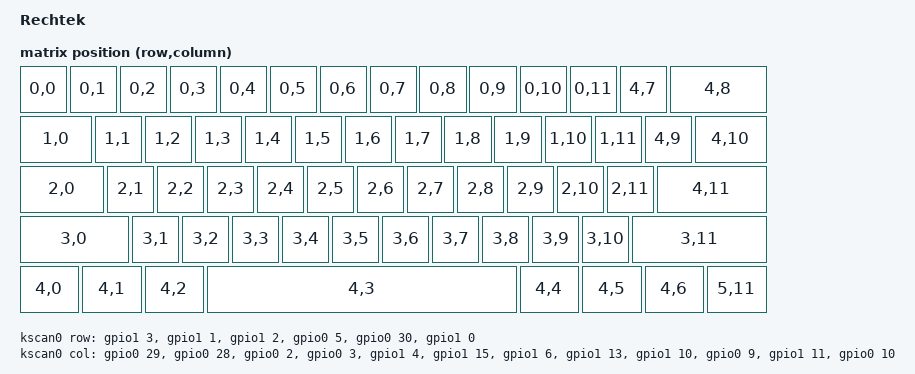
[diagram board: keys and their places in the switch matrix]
/*
 * Copyright (c) 2024 Boardsource
 *
 * SPDX-License-Identifier: MIT
 */

/dts-v1/;
#include <nordic/nrf52840_qiaa.dtsi>
#include <dt-bindings/zmk/matrix_transform.h>
#include <physical_layouts.dtsi>

/ {
    model = "Rechtek";
    compatible = "rechtek";

    chosen {
        zephyr,code-partition = &code_partition;
        zephyr,sram = &sram0;
        zephyr,flash = &flash0;
        zmk,kscan = &kscan0;
        zmk,physical-layout = &rechtek_layout;
    };

    rechtek_layout: rechtek_layout {
        compatible = "zmk,physical-layout";
        display-name = "Default Layout";
        transform = <&default_transform>;

        keys  //                     w   h    x    y     rot    rx    ry
            = <&key_physical_attrs 100 100 0 0 0 0 0>
            , <&key_physical_attrs 100 100 100 0 0 0 0>
            , <&key_physical_attrs 100 100 200 0 0 0 0>
            , <&key_physical_attrs 100 100 300 0 0 0 0>
            , <&key_physical_attrs 100 100 400 0 0 0 0>
            , <&key_physical_attrs 100 100 500 0 0 0 0>
            , <&key_physical_attrs 100 100 600 0 0 0 0>
            , <&key_physical_attrs 100 100 700 0 0 0 0>
            , <&key_physical_attrs 100 100 800 0 0 0 0>
            , <&key_physical_attrs 100 100 900 0 0 0 0>
            , <&key_physical_attrs 100 100 1000 0 0 0 0>
            , <&key_physical_attrs 100 100 1100 0 0 0 0>
            , <&key_physical_attrs 100 100 1200 0 0 0 0>
            , <&key_physical_attrs 200 100 1300 0 0 0 0>
            , <&key_physical_attrs 150 100 0 100 0 0 0>
            , <&key_physical_attrs 100 100 150 100 0 0 0>
            , <&key_physical_attrs 100 100 250 100 0 0 0>
            , <&key_physical_attrs 100 100 350 100 0 0 0>
            , <&key_physical_attrs 100 100 450 100 0 0 0>
            , <&key_physical_attrs 100 100 550 100 0 0 0>
            , <&key_physical_attrs 100 100 650 100 0 0 0>
            , <&key_physical_attrs 100 100 750 100 0 0 0>
            , <&key_physical_attrs 100 100 850 100 0 0 0>
            , <&key_physical_attrs 100 100 950 100 0 0 0>
            , <&key_physical_attrs 100 100 1050 100 0 0 0>
            , <&key_physical_attrs 100 100 1150 100 0 0 0>
            , <&key_physical_attrs 100 100 1250 100 0 0 0>
            , <&key_physical_attrs 150 100 1350 100 0 0 0>
            , <&key_physical_attrs 175 100 0 200 0 0 0>
            , <&key_physical_attrs 100 100 175 200 0 0 0>
            , <&key_physical_attrs 100 100 275 200 0 0 0>
            , <&key_physical_attrs 100 100 375 200 0 0 0>
            , <&key_physical_attrs 100 100 475 200 0 0 0>
            , <&key_physical_attrs 100 100 575 200 0 0 0>
            , <&key_physical_attrs 100 100 675 200 0 0 0>
            , <&key_physical_attrs 100 100 775 200 0 0 0>
            , <&key_physical_attrs 100 100 875 200 0 0 0>
            , <&key_physical_attrs 100 100 975 200 0 0 0>
            , <&key_physical_attrs 100 100 1075 200 0 0 0>
            , <&key_physical_attrs 100 100 1175 200 0 0 0>
            , <&key_physical_attrs 225 100 1275 200 0 0 0>
            , <&key_physical_attrs 225 100 0 300 0 0 0>
            , <&key_physical_attrs 100 100 225 300 0 0 0>
            , <&key_physical_attrs 100 100 325 300 0 0 0>
            , <&key_physical_attrs 100 100 425 300 0 0 0>
            , <&key_physical_attrs 100 100 525 300 0 0 0>
            , <&key_physical_attrs 100 100 625 300 0 0 0>
            , <&key_physical_attrs 100 100 725 300 0 0 0>
            , <&key_physical_attrs 100 100 825 300 0 0 0>
            , <&key_physical_attrs 100 100 925 300 0 0 0>
            , <&key_physical_attrs 100 100 1025 300 0 0 0>
            , <&key_physical_attrs 100 100 1125 300 0 0 0>
            , <&key_physical_attrs 275 100 1225 300 0 0 0>
            , <&key_physical_attrs 125 100 0 400 0 0 0>
            , <&key_physical_attrs 125 100 125 400 0 0 0>
            , <&key_physical_attrs 125 100 250 400 0 0 0>
            , <&key_physical_attrs 625 100 375 400 0 0 0>
            , <&key_physical_attrs 125 100 1000 400 0 0 0>
            , <&key_physical_attrs 125 100 1125 400 0 0 0>
            , <&key_physical_attrs 125 100 1250 400 0 0 0>
            , <&key_physical_attrs 125 100 1375 400 0 0 0>
            ;
    };

    default_transform: keymap_transform_0 {
        compatible = "zmk,matrix-transform";
        columns = <12>;
        rows = <6>;

        map = <
    RC(0,0) RC(0,1) RC(0,2) RC(0,3) RC(0,4) RC(0,5) RC(0,6) RC(0,7) RC(0,8) RC(0,9) RC(0,10) RC(0,11) RC(4,7) RC(4,8)
    RC(1,0) RC(1,1) RC(1,2) RC(1,3) RC(1,4) RC(1,5) RC(1,6) RC(1,7) RC(1,8) RC(1,9) RC(1,10) RC(1,11) RC(4,9) RC(4,10)
    RC(2,0) RC(2,1) RC(2,2) RC(2,3) RC(2,4) RC(2,5) RC(2,6) RC(2,7) RC(2,8) RC(2,9) RC(2,10) RC(2,11) RC(4,11)
    RC(3,0) RC(3,1) RC(3,2) RC(3,3) RC(3,4) RC(3,5) RC(3,6) RC(3,7) RC(3,8) RC(3,9) RC(3,10) RC(3,11)
    RC(4,0) RC(4,1) RC(4,2) RC(4,3) RC(4,4) RC(4,5) RC(4,6) RC(5,11)
        >;
    };

    leds {
        compatible = "gpio-leds";
        blue_led: led_0 {
            gpios = <&gpio1 9 GPIO_ACTIVE_HIGH>;
        };
    };

    vbatt: vbatt {
        compatible = "zmk,battery-voltage-divider";
        io-channels = <&adc 7>;
        output-ohms = <2000000>;
        full-ohms = <(2000000 + 820000)>;
    };

    ext_power: ext_power {
        compatible = "zmk,ext-power-generic";
        control-gpios = <&gpio0 31 GPIO_ACTIVE_HIGH>;
        init-delay-ms = <50>;
    };

    kscan0: kscan {
        compatible = "zmk,kscan-gpio-matrix";
        wakeup-source;

        diode-direction = "col2row";
        debounce-press-ms = <1>;
        debounce-release-ms = <5>;

        col-gpios
            = <&gpio0 29 GPIO_ACTIVE_HIGH>
            , <&gpio0 28 GPIO_ACTIVE_HIGH>
            , <&gpio0 2 GPIO_ACTIVE_HIGH>
            , <&gpio0 3 GPIO_ACTIVE_HIGH>
            , <&gpio1 4 GPIO_ACTIVE_HIGH>
            , <&gpio1 15 GPIO_ACTIVE_HIGH>
            , <&gpio1 6 GPIO_ACTIVE_HIGH>
            , <&gpio1 13 GPIO_ACTIVE_HIGH>
            , <&gpio1 10 GPIO_ACTIVE_HIGH>
            , <&gpio0 9 GPIO_ACTIVE_HIGH>
            , <&gpio1 11 GPIO_ACTIVE_HIGH>
            , <&gpio0 10 GPIO_ACTIVE_HIGH>
            ;
        row-gpios
            = <&gpio1 3  (GPIO_ACTIVE_HIGH | GPIO_PULL_DOWN)>
            , <&gpio1 1  (GPIO_ACTIVE_HIGH | GPIO_PULL_DOWN)>
            , <&gpio1 2  (GPIO_ACTIVE_HIGH | GPIO_PULL_DOWN)>
            , <&gpio0 5  (GPIO_ACTIVE_HIGH | GPIO_PULL_DOWN)>
            , <&gpio0 30 (GPIO_ACTIVE_HIGH | GPIO_PULL_DOWN)>
            , <&gpio1 0  (GPIO_ACTIVE_HIGH | GPIO_PULL_DOWN)>
            ;
    };
};

&adc {
    status = "okay";
};

&gpiote {
    status = "okay";
};

&gpio0 {
    status = "okay";
};

&gpio1 {
    status = "okay";
};

&flash0 {
    /*
     * For more information, see:
     * http://docs.zephyrproject.org/latest/devices/dts/flash_partitions.html
     */
    partitions {
        compatible = "fixed-partitions";
        #address-cells = <1>;
        #size-cells = <1>;

        sd_partition: partition@0 {
            label = "mbr";
            reg = <0x00000000 0x00001000>;
        };
        code_partition: partition@1000 {
            label = "code_partition";
            reg = <0x00001000 0x000d3000>;
        };

        storage_partition: partition@d4000 {
            label = "storage";
            reg = <0x000d4000 0x00020000>;
        };

        boot_partition: partition@f4000 {
            label = "adafruit_boot";
            reg = <0x000f4000 0x0000c000>;
        };
    };
};
